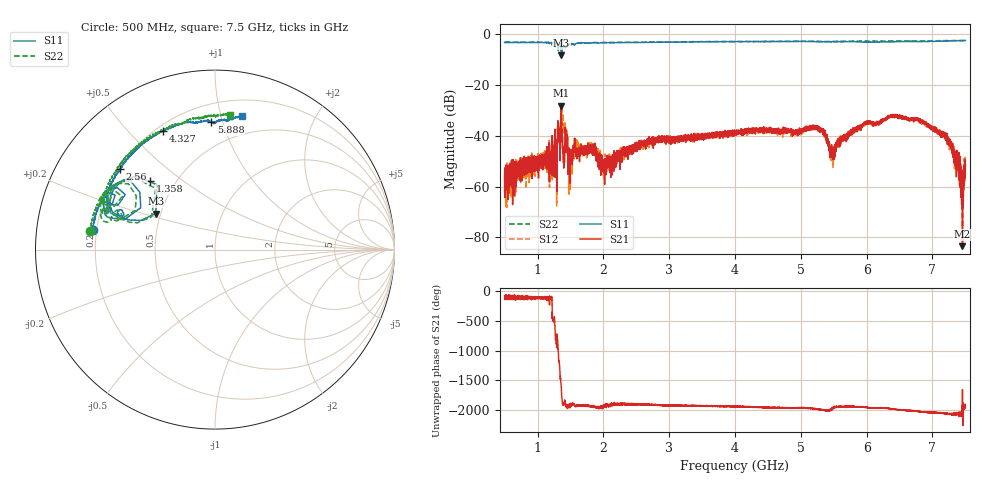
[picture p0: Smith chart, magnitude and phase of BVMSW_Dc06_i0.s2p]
!Keysight Technologies,M9374A,MY55442783,A.12.55.05
!Date: Friday, May 21, 2021 09:29:08
!Correction: S11(Full 2 Port(1,2))
!S21(Full 2 Port(1,2))
!S12(Full 2 Port(1,2))
!S22(Full 2 Port(1,2))
!S2P File: Measurements: S11, S21, S12, S22:
# Hz S  RI  R 50
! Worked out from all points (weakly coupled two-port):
!   7001 points, 500 MHz to 7.5 GHz, reference 50 ohm
!   highest |S21| = -28.06 dB at 1.361 GHz (marker M1); lowest = -83.5 dB at 7.456 GHz (marker M2)
!   lowest |S11| = -8.3 dB at 1.364 GHz (marker M3), VSWR 2.26, Z = 23.5 + j11.1 ohm
!   |S11| at or under -10 dB: nowhere
!   |S22| runs from -8.1 to -2.4 dB; largest |S21 - S12| = 0.02
!   S11 on the Smith chart (normalised r, x): 500 MHz: 0.18, +0.08; 1.358 GHz: 0.36, +0.38; 2.56 GHz: 0.20, +0.35; 4.327 GHz: 0.23, +0.63; 5.888 GHz: 0.32, +0.92; 7.5 GHz: 0.34, +1.17
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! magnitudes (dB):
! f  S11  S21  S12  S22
! 500 MHz  -3.2  -54.2  -57.9  -3.0
! 1.215 GHz  -3.4  -44.3  -44.5  -3.3
! 1.358 GHz  -5.6  -31.5  -31.0  -5.6
! 1.361 GHz  -7.4  -28.1  -28.2  -7.5
! 1.364 GHz  -8.3  -29.2  -29.0  -8.0
! 1.393 GHz  -5.0  -50.1  -34.5  -4.9
! 1.502 GHz  -4.0  -46.6  -46.8  -4.0
! 1.667 GHz  -3.4  -47.1  -46.8  -3.2
! 1.845 GHz  -3.3  -45.4  -43.2  -3.2
! 2.012 GHz  -3.3  -51.9  -51.5  -3.2
! 2.56 GHz  -3.2  -42.7  -43.5  -3.0
! 2.834 GHz  -3.1  -40.5  -41.6  -3.0
! 4 GHz  -2.9  -38.6  -38.9  -2.8
! 4.327 GHz  -2.8  -38.2  -37.7  -2.8
! 5.167 GHz  -2.8  -37.1  -36.9  -2.7
! 5.347 GHz  -2.9  -38.8  -39.0  -2.8
! 5.485 GHz  -2.9  -47.2  -48.8  -2.8
! 5.888 GHz  -3.0  -36.4  -36.7  -2.6
! 6.334 GHz  -2.9  -32.0  -32.2  -2.6
! 7.188 GHz  -2.6  -38.9  -39.8  -2.5
! 7.456 GHz  -2.4  -83.5  -64.4  -2.4
! 7.5 GHz  -2.4  -51.2  -55.3  -2.4
